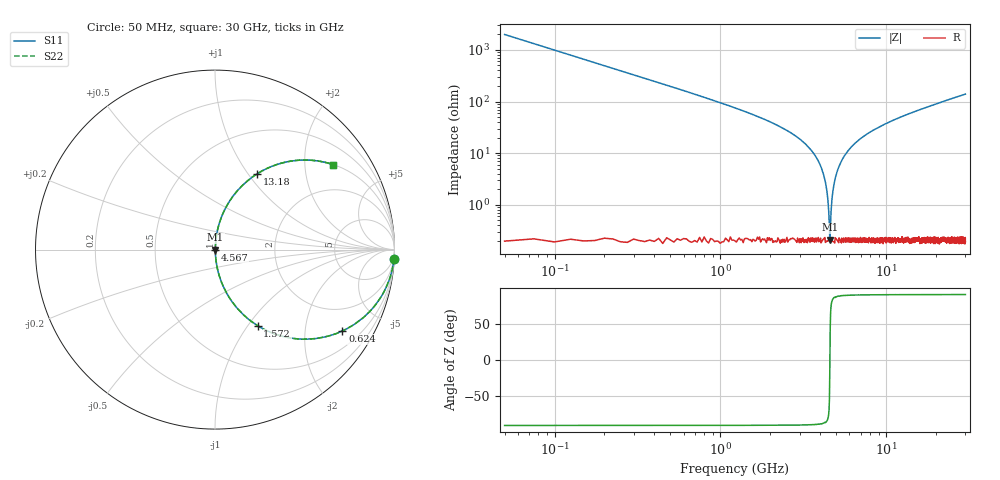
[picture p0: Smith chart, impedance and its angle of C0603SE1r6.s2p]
!	AVX Thin Film Operation 	Date: April 2014
!	Description: Accu-P® Series, Thin Film  SMD RF Capacitor
!	Part Number: 06031J1R6PBSTR
# MHZ S MA R 50
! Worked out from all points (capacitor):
!   1201 points, 50 MHz to 30 GHz, reference 50 ohm
!   read as one part in series: C = 1.6 pF near 199.8 MHz
!   lowest |Z| = 210 mohm at 4.567 GHz (marker M1)
!   series resonance near 4.573 GHz, so ESL is about 760 pH
!   S11 on the Smith chart (normalised r, x): 50 MHz: 1, -40; 624 MHz: 1.00, -3.13; 1.572 GHz: 1.00, -1.11; 4.567 GHz: 1.00, -0.00; 13.18 GHz: 1.00, +1.10; 30 GHz: 1.00, +2.79
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50  0.999 -2.9  0.05 87.1  0.05 87.1  0.999 -2.9
299.583  0.957 -16.8  0.289 73.1  0.289 73.1  0.957 -16.8
624.042  0.842 -32.6  0.538 57.4  0.538 57.4  0.842 -32.6
998.417  0.688 -46.4  0.725 43.4  0.725 43.4  0.688 -46.4
1572.458  0.486 -60.7  0.872 29.1  0.872 29.1  0.486 -60.7
2970.125  0.19 -78.5  0.98 10.9  0.98 10.9  0.19 -78.5
3768.792  0.084 -83.8  0.994 4.8  0.994 4.8  0.084 -83.8
4218.042  0.035 -84.6  0.997 2.0  0.997 2.0  0.035 -84.6
4342.833  0.023 -83.5  0.998 1.3  0.998 1.3  0.023 -83.5
4467.625  0.01 -77.9  0.998 0.6  0.998 0.6  0.01 -77.9
4567.458  0.00212 -14.1  0.998 0.0  0.998 0.0  0.00212 -14.1
4667.292  0.009106 76.4  0.998 -0.5  0.998 -0.5  0.009106 76.4
4842  0.025 83.8  0.998 -1.4  0.998 -1.4  0.025 83.8
5041.667  0.042 84.8  0.997 -2.4  0.997 -2.4  0.042 84.8
5615.708  0.089 83.6  0.994 -5.1  0.994 -5.1  0.089 83.6
6589.083  0.16 80.1  0.985 -9.2  0.985 -9.2  0.16 80.1
10058.29  0.354 68.9  0.933 -20.7  0.933 -20.7  0.354 68.9
13178.08  0.482 61.0  0.874 -28.8  0.874 -28.8  0.482 61.0
15025  0.543 56.9  0.838 -32.9  0.838 -32.9  0.543 56.9
20016.67  0.669 47.9  0.742 -42.0  0.742 -42.0  0.669 47.9
25033.29  0.754 40.9  0.655 -49.0  0.655 -49.0  0.754 40.9
30000  0.812 35.6  0.583 -54.3  0.583 -54.3  0.812 35.6
